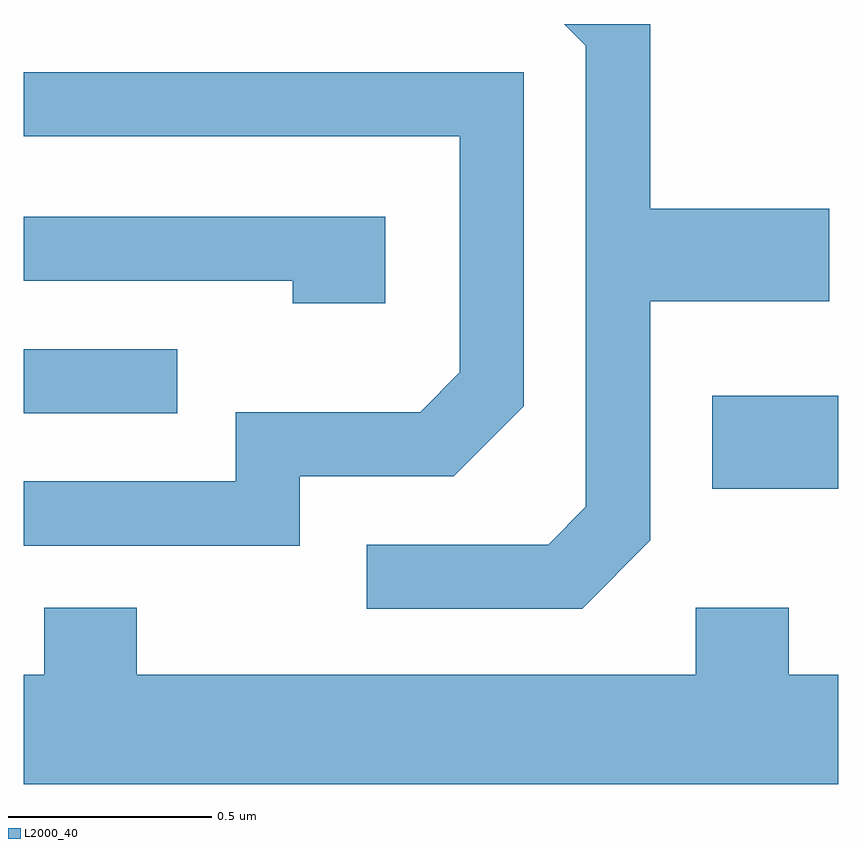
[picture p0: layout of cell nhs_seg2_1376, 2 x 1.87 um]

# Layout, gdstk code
import gdstk
lib = gdstk.Library(unit=1e-6, precision=1e-09)
def R(c, l, rs):  # rectangles x0, y0, x1, y1
    for r in rs: c.add(gdstk.rectangle(r[:2], r[2:], *l))
def P(c, l, *ps):  # polygons
    for p in ps: c.add(gdstk.Polygon(p, *l))
L2000_40 = (2000, 40)

nhs_seg2_1376 = lib.new_cell('nhs_seg2_1376')
R(nhs_seg2_1376, L2000_40, [(197.301,984.661,197.611,984.889), (195.611,984.846,195.988,985.004)])
P(nhs_seg2_1376, L2000_40, [(197.149,984.534),(197.149,985.121),(197.589,985.121),(197.589,985.349),(197.149,985.349),(197.149,985.802),(196.938,985.802),(196.991,985.749),(196.991,984.617),(196.899,984.524),(196.453,984.524),(196.453,984.366),(196.982,984.366)],
  [(196.289,984.691),(196.667,984.691),(196.839,984.864),(196.839,985.684),(195.611,985.684),(195.611,985.526),(196.681,985.526),(196.681,984.947),(196.584,984.849),(196.131,984.849),(196.131,984.679),(195.611,984.679),(195.611,984.521),(196.289,984.521)],
  [(196.499,985.329),(195.611,985.329),(195.611,985.171),(196.271,985.171),(196.271,985.116),(196.499,985.116)],
  [(197.611,984.204),(197.489,984.204),(197.489,984.369),(197.261,984.369),(197.261,984.204),(195.889,984.204),(195.889,984.369),(195.661,984.369),(195.661,984.204),(195.611,984.204),(195.611,983.936),(197.611,983.936)])

lib.write_gds('nhs_seg2_1376.gds')
